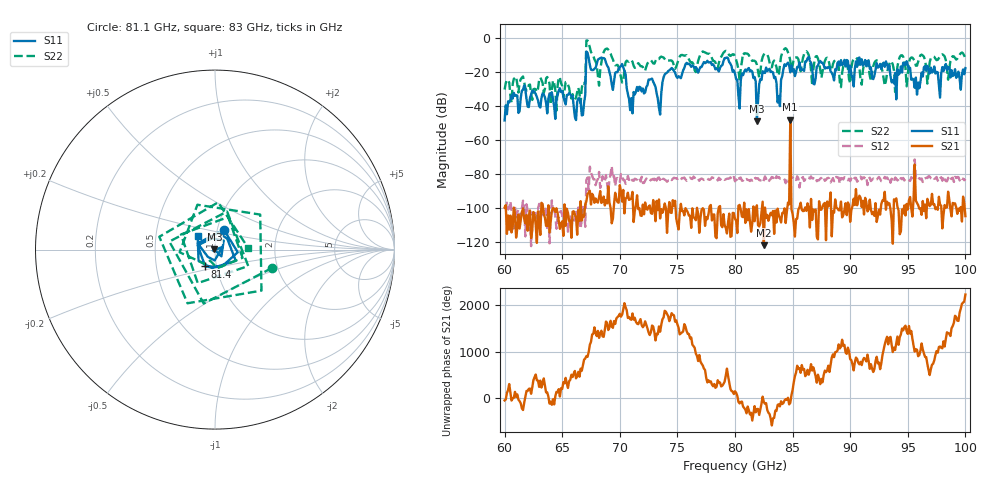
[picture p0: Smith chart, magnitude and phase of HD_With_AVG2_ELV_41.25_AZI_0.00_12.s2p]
! 11/25/2026 10:15:43 AM
! C:\ANRITSUVNA\TEMP\TEMP.S2P
! CHANNEL.1
! TR.MEASUREMENT
! RAW.DATA
# HZ S RI R 50.0
! FREQ.HZ  S11RE  S11IM  S21RE  S21IM  S12RE  S12IM  S22RE  S22IM
!; PortSelection: Port_12
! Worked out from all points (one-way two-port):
!   401 points, 60 GHz to 100 GHz, reference 50 ohm
!   highest |S21| = -48.12 dB at 84.8 GHz (marker M1); lowest = -121.9 dB at 82.5 GHz (marker M2)
!   lowest |S11| = -49.2 dB at 81.9 GHz (marker M3), VSWR 1.01, Z = 49.7 + j0.0588 ohm
!   |S11| at or under -10 dB: start of sweep to 67.09 GHz; 67.24 GHz to end of sweep
!   |S22| runs from -42.8 to -1.7 dB; largest |S21 - S12| = 0.004
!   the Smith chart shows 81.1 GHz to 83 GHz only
!   S11 on the Smith chart (normalised r, x): 81.1 GHz: 1.08, +0.24; 81.4 GHz: 0.88, -0.17; 83 GHz: 0.82, +0.12
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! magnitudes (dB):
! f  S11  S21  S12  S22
! 60 GHz  -48.6  -99.8  -99.3  -30.5
! 61.6 GHz  -30.6  -100.3  -95.6  -22.8
! 66.7 GHz  -45.7  -107.3  -106.4  -29.5
! 67.3 GHz  -12.1  -91.0  -89.7  -3.2
! 68.4 GHz  -11.8  -97.0  -86.2  -14.7
! 68.9 GHz  -16.5  -97.3  -85.7  -6.5
! 70.3 GHz  -17.5  -89.4  -83.6  -25.5
! 70.9 GHz  -42.6  -94.9  -82.2  -13.5
! 72.7 GHz  -24.4  -103.0  -83.3  -13.3
! 73.4 GHz  -41.3  -95.0  -82.1  -12.6
! 74.4 GHz  -18.6  -102.7  -82.9  -13.4
! 80 GHz  -21.2  -106.3  -84.4  -11.1
! 81.1 GHz  -18.4  -107.1  -83.5  -9.5
! 81.4 GHz  -19.3  -113.9  -83.3  -13.0
! 81.9 GHz  -49.2  -98.4  -82.6  -15.9
! 82.5 GHz  -20.4  -121.9  -83.5  -9.9
! 83 GHz  -18.3  -104.8  -83.6  -14.6
! 83.8 GHz  -34.4  -104.0  -81.8  -22.3
! 84.8 GHz  -20.4  -48.1  -82.8  -13.6
! 86.7 GHz  -17.5  -107.0  -82.7  -28.0
! 93.4 GHz  -16.3  -97.2  -82.0  -15.6
! 100 GHz  -17.9  -104.8  -82.9  -12.1
